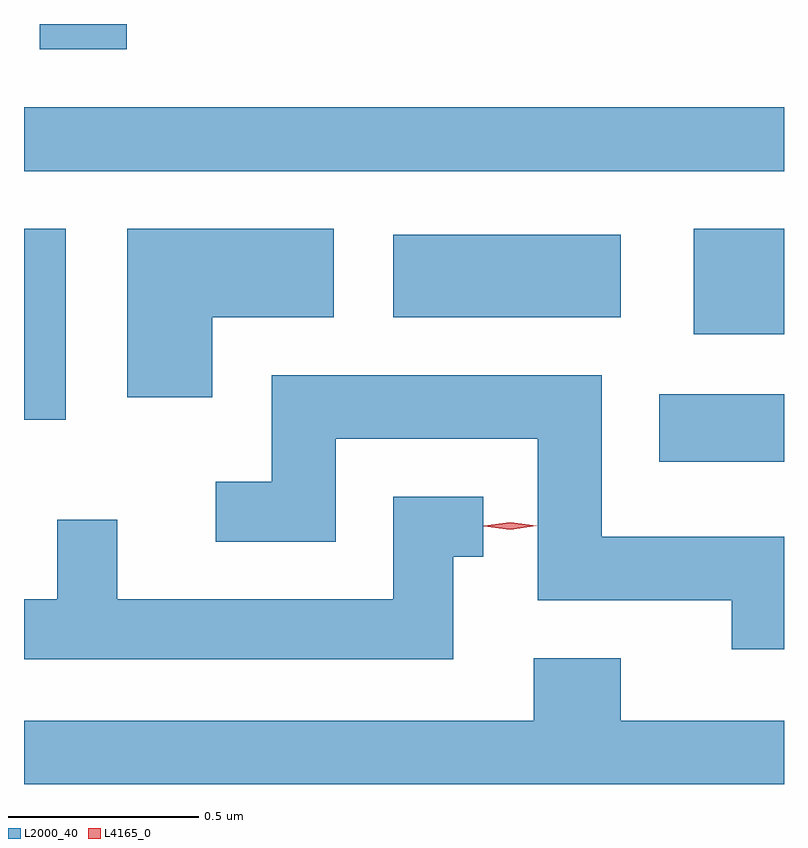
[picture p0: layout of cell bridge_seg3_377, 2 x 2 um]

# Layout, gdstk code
import gdstk
lib = gdstk.Library(unit=1e-6, precision=1e-09)
def R(c, l, rs):  # rectangles x0, y0, x1, y1
    for r in rs: c.add(gdstk.rectangle(r[:2], r[2:], *l))
def P(c, l, *ps):  # polygons
    for p in ps: c.add(gdstk.Polygon(p, *l))
L2000_40 = (2000, 40)
L4165_0 = (4165, 0)

bridge_seg3_377 = lib.new_cell('bridge_seg3_377')
R(bridge_seg3_377, L2000_40, [(688.131,1120.306,688.459,1120.484), (686.459,1120.416,686.569,1120.919), (688.221,1120.641,688.459,1120.919), (687.431,1120.686,688.029,1120.904), (686.459,1121.071,688.459,1121.239), (686.501,1121.391,686.729,1121.458)])
P(bridge_seg3_377, L2000_40, [(686.954,1120.686),(687.274,1120.686),(687.274,1120.919),(686.731,1120.919),(686.731,1120.476),(686.954,1120.476)],
  [(688.459,1120.109),(687.979,1120.109),(687.979,1120.534),(687.111,1120.534),(687.111,1120.254),(686.963,1120.254),(686.963,1120.096),(687.279,1120.096),(687.279,1120.366),(687.811,1120.366),(687.811,1119.941),(688.321,1119.941),(688.321,1119.813),(688.459,1119.813)],
  [(687.589,1120.056),(687.668,1120.056),(687.668,1120.214),(687.431,1120.214),(687.431,1119.944),(686.704,1119.944),(686.704,1120.153),(686.546,1120.153),(686.546,1119.944),(686.459,1119.944),(686.459,1119.786),(687.589,1119.786)],
  [(688.459,1119.624),(688.029,1119.624),(688.029,1119.789),(687.801,1119.789),(687.801,1119.624),(686.459,1119.624),(686.459,1119.458),(688.459,1119.458)])
P(bridge_seg3_377, L4165_0, [(687.738,1120.127),(687.669,1120.136),(687.669,1120.136),(687.669,1120.137),(687.738,1120.147),(687.808,1120.138),(687.808,1120.137),(687.808,1120.137)])

lib.write_gds('bridge_seg3_377.gds')
